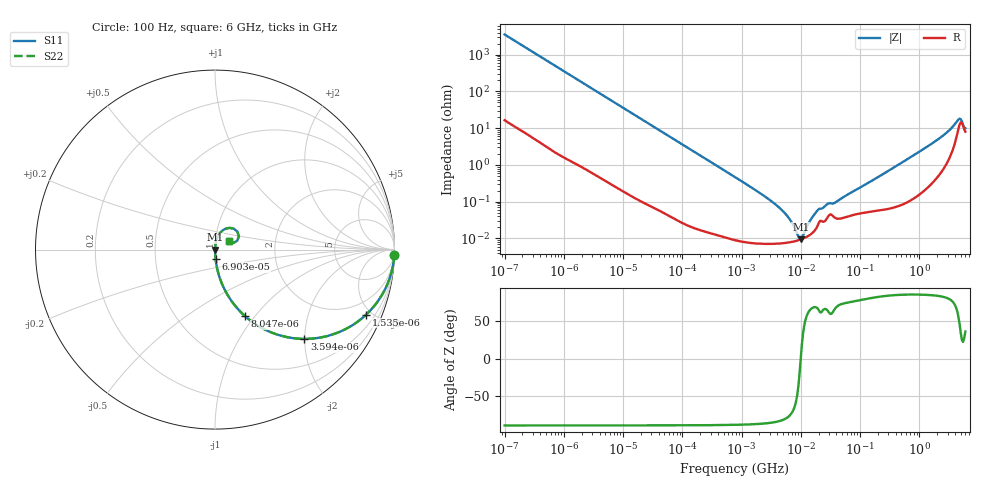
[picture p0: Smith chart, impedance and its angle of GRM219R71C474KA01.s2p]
!Murata Part Number: GRM219R71C474KA01
!These Parameters are Measured in Series Mode Connection
!Data Generated on Mar 30, 2021
!  o--ll--o
!Port1  Port2
!  o------o
!Operation Temp=25[degC], DC Bias Voltage=0[V]
!Freq. Start=100[Hz] Stop=6[GHz] 401[Steps]
# Hz S RI R 50
!Freq.(Hz) S11(Real) S11(Imag) S21(Real) S21(Imag) S12(Real) S12(Imag) S22(Real) S22(Imag)
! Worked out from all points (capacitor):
!   401 points, 100 Hz to 6 GHz, reference 50 ohm
!   read as one part in series: C = 449 nF near 109 Hz
!   lowest |Z| = 9.39 mohm at 9.942 MHz (marker M1)
!   series resonance near 9.967 MHz, so ESL is about 570 pH
!   S11 on the Smith chart (normalised r, x): 100 Hz: 1, -71; 1.535 kHz: 1.02, -4.65; 3.594 kHz: 1.01, -1.99; 8.047 kHz: 1.00, -0.89; 69.03 kHz: 1.00, -0.10; 6 GHz: 1.16, +0.12
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100  0.9991 -0.0282  0.000928 0.0282  0.000928 0.0282  0.9991 -0.0282
458  0.9831 -0.1266  0.0169 0.1266  0.0169 0.1266  0.9831 -0.1266
1535  0.8426 -0.3618  0.1574 0.3618  0.1574 0.3618  0.8426 -0.3618
2008  0.7586 -0.4255  0.2414 0.4255  0.2414 0.4255  0.7586 -0.4255
3594  0.4977 -0.4975  0.5023 0.4975  0.5023 0.4975  0.4977 -0.4975
8047  0.167 -0.3704  0.833 0.3704  0.833 0.3704  0.167 -0.3704
15752  0.0506 -0.2164  0.9494 0.2164  0.9494 0.2164  0.0506 -0.2164
40335  0.0085 -0.0886  0.9915 0.0886  0.9915 0.0886  0.0085 -0.0886
69028  0.00309 -0.0522  0.9969 0.0522  0.9969 0.0522  0.00309 -0.0522
774597  0.000112 -0.00468  0.9999 0.00468  0.9999 0.00468  0.000112 -0.00468
4440638  7.34e-05 -0.00066  0.9999 0.00066  0.9999 0.00066  7.34e-05 -0.00066
6353432  7.83e-05 -0.000342  0.9999 0.000342  0.9999 0.000342  7.83e-05 -0.000342
9090158  8.95e-05 -6.79e-05  0.9999 6.79e-05  0.9999 6.79e-05  8.95e-05 -6.79e-05
9941735  9.39e-05 -1.8e-06  0.9999 1.8e-06  0.9999 1.8e-06  9.39e-05 -1.8e-06
1.555665e7  0.00014 0.000346  0.9999 -0.000346  0.9999 -0.000346  0.00014 0.000346
1.946e7  0.000234 0.00055  0.9998 -0.00055  0.9998 -0.00055  0.000234 0.00055
2.784235e7  0.000359 0.000779  0.9996 -0.000779  0.9996 -0.000779  0.000359 0.000779
3.80911e7  0.000362 0.000876  0.9996 -0.000876  0.9996 -0.000876  0.000362 0.000876
3.124326e8  0.000697 0.00713  0.9993 -0.00713  0.9993 -0.00713  0.000697 0.00713
2.048624e9  0.00708 0.0484  0.9929 -0.0484  0.9929 -0.0484  0.00708 0.0484
4.586474e9  0.1035 0.1169  0.8965 -0.1169  0.8965 -0.1169  0.1035 0.1169
6e9  0.0771 0.0506  0.9229 -0.0506  0.9229 -0.0506  0.0771 0.0506
